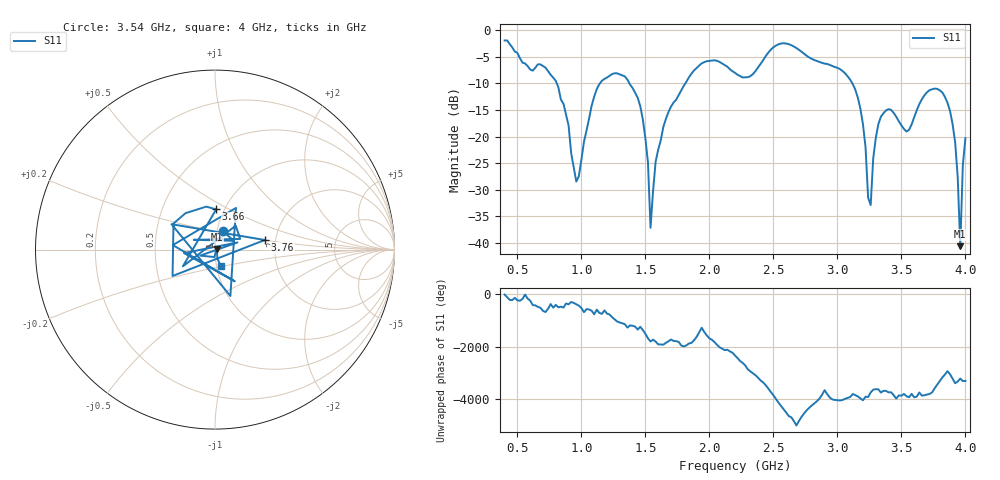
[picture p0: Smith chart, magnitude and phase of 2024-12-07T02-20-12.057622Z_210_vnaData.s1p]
!Created with skrf (http://scikit-rf.org).
# Hz S RI R 50.0
!freq ReS11 ImS11
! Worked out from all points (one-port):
!   181 points, 400 MHz to 4 GHz, reference 50 ohm
!   lowest |S11| = -40.6 dB at 3.96 GHz (marker M1), VSWR 1.02, Z = 50.9 + j0.317 ohm
!   |S11| at or under -10 dB: 807.9 MHz to 1.145 GHz (336.7 MHz wide, 34.5 % of centre); 1.375 GHz to 1.812 GHz (436.5 MHz wide, 27.4 % of centre); 3.117 GHz to end of sweep
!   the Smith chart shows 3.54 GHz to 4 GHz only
!   S11 on the Smith chart (normalised r, x): 3.54 GHz: 1.07, +0.22; 3.66 GHz: 0.92, +0.43; 3.76 GHz: 1.75, +0.20; 4 GHz: 1.05, -0.19
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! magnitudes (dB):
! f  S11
! 400 MHz  -1.9
! 860 MHz  -13.8
! 960 MHz  -28.4
! 1.12 GHz  -11.1
! 1.3 GHz  -8.3
! 1.46 GHz  -14.3
! 1.52 GHz  -24.8
! 1.54 GHz  -37.1
! 1.58 GHz  -24.7
! 1.76 GHz  -12.2
! 1.96 GHz  -6.0
! 2.2 GHz  -8.0
! 2.66 GHz  -3.1
! 3.1 GHz  -9.3
! 3.2 GHz  -17.7
! 3.24 GHz  -31.5
! 3.26 GHz  -32.9
! 3.28 GHz  -24.0
! 3.34 GHz  -16.3
! 3.54 GHz  -19.0
! 3.56 GHz  -18.7
! 3.66 GHz  -13.0
! 3.76 GHz  -11.0
! 3.9 GHz  -17.6
! 3.94 GHz  -27.6
! 3.96 GHz  -40.6
! 3.98 GHz  -25.4
! 4 GHz  -20.3
